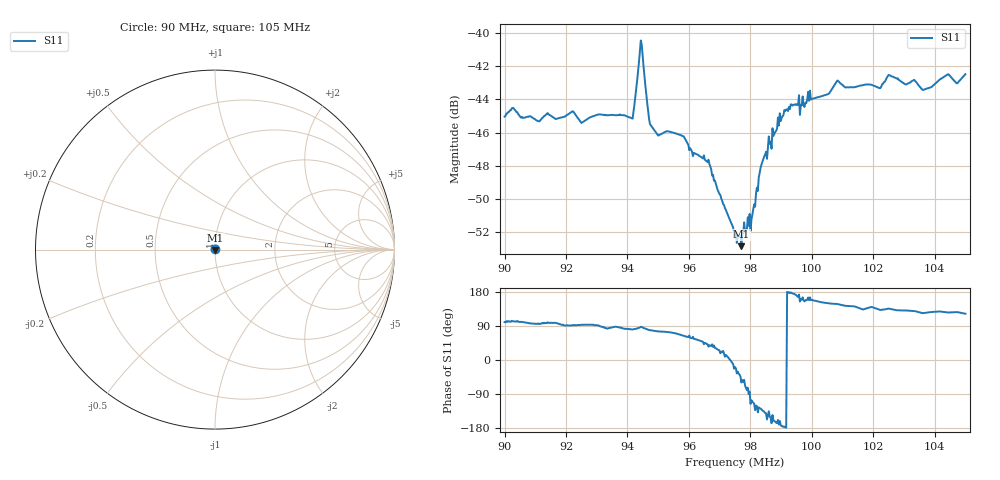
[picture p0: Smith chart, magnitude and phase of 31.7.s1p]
# HZ S RI R 50
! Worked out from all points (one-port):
!   505 points, 90 MHz to 105 MHz, reference 50 ohm
!   lowest |S11| = -52.8 dB at 97.71 MHz (marker M1), VSWR 1.00, Z = 50.1 - j0.197 ohm
!   |S11| at or under -10 dB: start of sweep to end of sweep
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9e7  -0.00097 0.00552
9.026786e7  -0.00125 0.00582
9.107143e7  -0.000502 0.00541
9.187501e7  -0.000272 0.00557
9.375001e7  0.000364 0.00568
9.416668e7  0.000901 0.00545
9.443454e7  0.000436 0.00948
9.449406e7  0.000649 0.0085
9.467263e7  0.00102 0.00573
9.479168e7  0.00107 0.00511
9.562502e7  0.00177 0.00464
9.663693e7  0.0034 0.0024
9.750002e7  0.0024 -0.000812
9.770836e7  0.00116 -0.00197
9.80655e7  -0.000964 -0.00267
9.833336e7  -0.00245 -0.00308
9.866074e7  -0.00415 -0.00221
9.937503e7  -0.00603 0.000484
1.00506e8  -0.00566 0.00327
1.008334e8  -0.00608 0.00384
1.0125e8  -0.00542 0.00421
1.022024e8  -0.0046 0.00504
1.025298e8  -0.0053 0.00525
1.03125e8  -0.00457 0.00536
1.036608e8  -0.00378 0.0056
1.044048e8  -0.00436 0.00608
1.047322e8  -0.00418 0.00568
1.05e8  -0.004 0.00636
